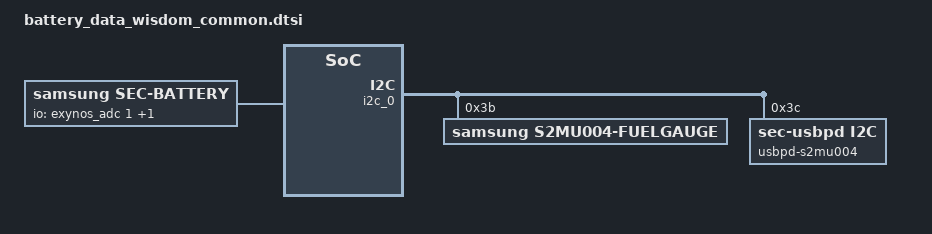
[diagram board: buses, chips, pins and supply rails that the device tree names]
/*
 * Tab WISDOM Battery parameters device tree file
 *
 * Copyright (C) 2018 Samsung Electronics, Inc.
 *
 * This program is free software; you can redistribute it and/or
 * modify it under the terms of the GNU General Public License
 * as published by the Free Software Foundation; either version 2
 * of the License, or (at your option) any later version.
 *
 * This program is distributed in the hope that it will be useful,
 * but WITHOUT ANY WARRANTY; without even the implied warranty of
 * MERCHANTABILITY or FITNESS FOR A PARTICULAR PURPOSE. See the
 * GNU General Public License for more details.
 *
 * You should have received a copy of the GNU General Public License
 * along with this program. If not, see <http://www.gnu.org/licenses/>.
 *
 */

/ {
	fragment@battery {
		target-path = "/";
		__overlay__ {
			battery_params {
					battery,battery_data =
						<
						/***** battery data for 4.30 *****/
						/* battery,battery_table3 */
						61 11 251 10 185 10 107 10 232 9
						106 9 246 8 149 8 20 8 190 7
						103 7 244 6 182 6 135 6 98 6
						68 6 41 6 6 6 204 5 146 5
						115 5 176 2 187 9 68 9 205 8
						85 8 222 7 103 7 240 6 121 6
						2 6 139 5 20 5 157 4 38 4
						175 3 56 3 193 2 74 2 211 1
						92 1 229 0 109 0 246 15

						/* battery,battery_table4 */
						10 10 10 10 36 36 35 34 35 35
						36 36 36 36 36 37 39 40 43 51
						75 96

						/* battery,batcap */
						0x80 0x3E 0xA0 0x0F /* [0x0E] [0x0F] [0x10] [0x11] */
						/* battery,accum */
						0x8 0x00 /* [0x45] [0x44] */

						/* battery,soc_arr_val */
						12161 11580 10999 10417 9836 9255 8673 8092 7511 6929
						6348 5766 5185 4604 4022 3441 2859 2278 1697 1116
						534 (-47)
						/* battery,ocv_arr_val */
						44048 43727 43404 43021 42381 41766 41201 40726 40096 39679
						39252 38692 38387 38160 37977 37831 37700 37531 37245 36963
						36811 33361

						/* battery,tunning */
						0x00

						/***** battery data for 4.28 *****/
						/* battery,battery_table3 */
						28 11 251 10 219 10 186 10 154 10
						84 10 193 9 58 9 189 8 76 8
						206 7 116 7 247 6 177 6 127 6
						87 6 56 6 25 6 227 5 158 5
						118 5 176 2 254 10 119 10 240 9
						105 9 226 8 92 8 213 7 78 7
						199 6 65 6 186 5 51 5 172 4
						37 4 159 3 24 3 145 2 10 2
						132 1 253 0 118 0 239 15

						/* battery,battery_table4 */
						40 35 36 36 36 36 35 34 35 35
						36 36 36 36 36 37 39 40 43 51
						75 66

						/* battery,batcap */
						0x28 0x3C 0x0A 0x0F /* [0x0E] [0x0F] [0x10] [0x11] */
						/* battery,accum */
						0x8 0x00 /* [0x45] [0x44] */

						/* battery,soc_arr_val */
						13738 13080 12422 11763 11106 10448 9790 9132 8474 7816
						7158 6500 5840 5183 4525 3867 3209 2551 1893 1235
						577 (-81)
						/* battery,ocv_arr_val */
						43886 43727 43568 43409 43250 42908 42194 41534 40925 40372
						39754 39315 38705 38366 38121 37927 37775 37621 37359 37023
						36826 33361

						/* battery,tunning */
						0x00
				
						/***** battery data for 4.26 *****/
						/* battery,battery_table3 */
						32 11 251 10 214 10 178 10 141 10
						24 10 139 9 13 9 158 8 24 8
						187 7 88 7 229 6 166 6 119 6
						82 6 53 6 20 6 221 5 155 5
						117 5 176 2 254 10 119 10 240 9
						105 9 226 8 92 8 213 7 78 7
						199 6 64 6 186 5 51 5 172 4
						37 4 158 3 24 3 145 2 10 2
						131 1 252 0 118 0 239 15

						/* battery,battery_table4 */
						40 35 36 36 36 36 35 34 35 35
						36 36 36 36 36 37 39 40 43 51
						75 66

						/* battery,batcap */
						0x08 0x39 0x42 0x0E /* [0x0E] [0x0F] [0x10] [0x11] */
						/* battery,accum */
						0x8 0x00 /* [0x45] [0x44] */

						/* battery,soc_arr_val */
						13738 13080 12422 11763 11106 10447 9789 9131 8473 7815
						7157 6499 5840 5182 4524 3866 3207 2550 1891 1233
						575 (-83)
						/* battery,ocv_arr_val */
						43907 43727 43547 43368 43188 42618 41929 41312 40773 40117
						39662 39180 38620 38313 38083 37901 37757 37598 37331 37008
						36822 33361

						/* battery,tunning */
						0x00

						/***** battery data for 4.24 *****/
						/* battery,battery_table3 */
						35 11 251 10 212 10 172 10 133 10
						250 9 114 9 246 8 143 8 254 7
						176 7 71 7 221 6 161 6 115 6
						79 6 51 6 18 6 218 5 154 5
						117 5 176 2 254 10 119 10 240 9
						105 9 226 8 92 8 213 7 78 7
						199 6 64 6 186 5 51 5 172 4
						37 4 158 3 24 3 145 2 10 2
						131 1 252 0 118 0 239 15

						/* battery,battery_table4 */
						40 35 36 36 36 36 35 34 35 35
						36 36 36 36 36 37 39 40 43 51
						75 66

						/* battery,batcap */
						0x98 0x3A 0xA6 0x0E /* [0x0E] [0x0F] [0x10] [0x11] */
						/* battery,accum */
						0x8 0x00 /* [0x45] [0x44] */

						/* battery,soc_arr_val */
						13738 13080 12422 11763 11105 10447 9789 9131 8473 7814
						7156 6498 5840 5182 4523 3865 3207 2549 1891 1232
						574 (-84)

						/* battery,ocv_arr_val */
						43920 43727 43534 43341 43148 42473 41807 41202 40697 39989
						39609 39099 38581 38286 38063 37888 37747 37587 37317 37001
						36821 33361

						/* battery,tunning */
						0x00

						/***** battery data for 4.19 *****/
						/* battery,battery_table3 */
						67 11 251 10 180 10 88 10 214 9
						91 9 233 8 140 8 4 8 184 7
						95 7 239 6 178 6 133 6 96 6
						67 6 40 6 5 6 202 5 145 5
						115 5 176 2 254 10 119 10 240 9
						105 9 226 8 91 8 212 7 78 7
						199 6 64 6 185 5 50 5 171 4
						36 4 157 3 22 3 144 2 9 2
						130 1 251 0 116 0 237 15

						/* battery,battery_table4 */
						40 35 36 36 36 36 35 34 35 35
						36 36 36 36 36 37 39 40 43 51
						75 66

						/* battery,batcap */
						0x90 0x33 0xE4 0x0C/* [0x0E] [0x0F] [0x10] [0x11] */
						/* batteryaccum */
						0x8 0x00 /* [0x45] [0x44] */

						/* batterysoc_arr_val */
						13738 13080 12421 11762 11104 10446 9787 9129 8470 7812
						7153 6494 5836 5177 4519 3860 3202 2543 1885 1226
						568 (-91)

						/* batteryocv_arr_val */
						44077 43727 43377 42932 42295 41694 41137 40682 40020 39651
						39212 38668 38370 38148 37968 37825 37694 37524 37237 36959
						36810 33361

						/* battery,tunning */
						0x00
 						>;

					battery,battery_table3 = <
								61 11 251 10 185 10 107 10 232 9
								106 9 246 8 149 8 20 8 190 7
								103 7 244 6 182 6 135 6 98 6
								68 6 41 6 6 6 204 5 146 5
								115 5 176 2 187 9 68 9 205 8
								85 8 222 7 103 7 240 6 121 6
								2 6 139 5 20 5 157 4 38 4
								175 3 56 3 193 2 74 2 211 1
								92 1 229 0 109 0 246 15
								>;

					battery,battery_table4 = <
								10 10 10 10 36 36 35 34 35 35
								36 36 36 36 36 37 39 40 43 51
								75 96
								>;

					battery,batcap = <0xD0 0x39 0x74 0x0E>; /* [0x0E] [0x0F] [0x10] [0x11] */
					battery,accum = <0x8 0x00>; /* [0x45] [0x44] */

					battery,soc_arr_val = <
								12161 11580 10999 10417 9836 9255 8673 8092 7511 6929
								6348 5766 5185 4604 4022 3441 2859 2278 1697 1116
								534 (-47)
								>;
					battery,ocv_arr_val = <
								44048 43727 43404 43021 42381 41766 41201 40726 40096 39679
								39252 38692 38387 38160 37977 37831 37700 37531 37245 36963
								36811 33361
								>;
					battery,data_ver = <0x04>;
			};

			pdic-manager {
				/* sink */
				pdic,max_power = <5000>;
				pdic,op_power = <2500>;
				pdic,max_voltage = <6000>;
				pdic,max_current = <2000>;
				pdic,min_current = <500>;

				pdic,giveback = <0>;
				pdic,usb_com_capable = <1>;
				pdic,no_usb_suspend = <1>;

				/* source */
				source,max_voltage = <5000>;
				source,min_voltage = <4000>;
				source,max_power = <2500>;

				/* sink cap */
				sink,capable_max_voltage = <9000>;
			};

			battery {
				status = "okay";
				compatible = "samsung,sec-battery";

				pinctrl-names = "default";

				battery,vendor = "Battery";
				battery,charger_name = "s2mu004-charger";
				battery,fuelgauge_name = "s2mu004-fuelgauge";
				battery,technology = <2>; /* POWER_SUPPLY_TECHNOLOGY_LION */
				battery,fgsrc_switch_name = "s2mu004-fuelgauge"; /* Fuelgauge voltage source */

				battery,batt_data_version = <2>;

				battery,chip_vendor = "LSI";
				battery,temp_adc_type = <1>; /* SEC_BATTERY_ADC_TYPE_AP */

				battery,temp_check_type = <2>; /* SEC_BATTERY_TEMP_CHECK_TEMP */

				battery,thermal_source = <2>; /* SEC_BATTERY_THERMAL_SOURCE_ADC */

				battery,polling_time = <10 30 30 30 3600>;

				battery,temp_table_adc = <
							467 525 590 665 750 846 952 1017 1200 1345
							1470 1615 1715 1990 2250 2405 2596 2782 2953 3127
							3270 3412 3543
							>;
				battery,temp_table_data = <
							900 850 800 750 700 650 600 550 500 450 
							400 350 300 250 200 150 100 50 0 (-50)
							(-100) (-150) (-200)
							>;

				battery,inbat_voltage = <1>;

				battery,inbat_voltage_table_adc = <2823 2803 2775 2748 2719 2695 2668 2638 2609 2582
								2551 2524 2496 2469 2442 2416 2390 2362 2333 2303 2275>;
				battery,inbat_voltage_table_data = <4385 4355 4305 4255 4205 4155 4105 4055 4005 3955
								3905 3855 3805 3755 3705 3655 3605 3555 3505 3455 3405>;

				battery,adc_check_count = <5>;

				battery,cable_check_type = <4>; /* SEC_BATTERY_CABLE_CHECK_PSY */
				battery,cable_source_type = <1>; /* SEC_BATTERY_CABLE_SOURCE_EXTERNAL */
				battery,polling_type = <1>; /* SEC_BATTERY_MONITOR_ALARM */
				battery,monitor_initial_count = <0>;

				battery,pre_afc_input_current = <500>;

				battery,battery_check_type = <0>; /* SEC_BATTERY_CHECK_NONE */
				battery,check_count = <0>;

				battery,ovp_uvlo_check_type = <3>; /* SEC_BATTERY_OVP_UVLO_CHGPOLLING */

				battery,temp_check_count = <1>;
				battery,temp_highlimit_threshold_event = <800>;
				battery,temp_highlimit_recovery_event = <750>;
				battery,temp_high_threshold_event = <500>;
				battery,temp_high_recovery_event = <450>;
				battery,temp_low_threshold_event = <0>;
				battery,temp_low_recovery_event = <50>;
				battery,temp_highlimit_threshold_normal = <800>;
				battery,temp_highlimit_recovery_normal = <750>;
				battery,temp_high_threshold_normal = <500>;
				battery,temp_high_recovery_normal = <480>;
				battery,temp_low_threshold_normal = <0>;
				battery,temp_low_recovery_normal = <20>;
				battery,temp_highlimit_threshold_lpm = <800>;
				battery,temp_highlimit_recovery_lpm = <750>;
				battery,temp_high_threshold_lpm = <500>;
				battery,temp_high_recovery_lpm = <480>;
				battery,temp_low_threshold_lpm = <0>;
				battery,temp_low_recovery_lpm = <20>;
				battery,wpc_high_threshold_normal = <480>;
				battery,wpc_high_recovery_normal = <400>;
				battery,wpc_low_threshold_normal = <0>;
				battery,wpc_low_recovery_normal = <20>;

				battery,full_check_type = <2>; /* SEC_BATTERY_FULLCHARGED_FG_CURRENT */
				battery,full_check_type_2nd = <2>; /* SEC_BATTERY_FULLCHARGED_FG_CURRENT */
				battery,full_check_count = <1>;
				battery,chg_gpio_full_check = <0>;
				battery,chg_polarity_full_check = <1>;

				/* SEC_BATTERY_FULL_CONDITION_SOC |
				 * SEC_BATTERY_FULL_CONDITION_NOTIMEFULL |
				 * SEC_BATTERY_FULL_CONDITION_VCELL
				 */
				battery,full_condition_type = <13>;
				battery,full_condition_soc = <93>;
				battery,full_condition_vcell = <4200>;

				battery,recharge_check_count = <1>;
				battery,recharge_condition_type = <4>; /* SEC_BATTERY_RECHARGE_CONDITION_VCELL */
				battery,recharge_condition_soc = <98>;
				battery,recharge_condition_vcell = <4230>;

				battery,charging_total_time = <14400>;
				battery,hv_charging_total_time = <10800>;
				battery,normal_charging_total_time = <18000>;
				battery,usb_charging_total_time = <36000>;
				battery,recharging_total_time = <5400>;
				battery,charging_reset_time = <0>;

				battery,chg_float_voltage = <4300>;

				battery,swelling_high_temp_block = <410>;
				battery,swelling_high_temp_recov = <390>;
				battery,swelling_wc_high_temp_recov = <390>;
				battery,swelling_low_temp_block_1st = <150>;
				battery,swelling_low_temp_recov_1st = <200>;
				battery,swelling_low_temp_block_2nd = <50>;
				battery,swelling_low_temp_recov_2nd = <100>;

				battery,swelling_low_temp_current = <750>;	/* 0.3C */
				battery,swelling_low_temp_topoff = <210>;	/* 0.05C */
				battery,swelling_high_temp_current = <1125>;	/* 0.45C */
				battery,swelling_high_temp_topoff = <210>;	/* 0.05C */
				battery,swelling_wc_high_temp_current = <750>;	/* 0.3C */
				battery,swelling_wc_low_temp_current = <750>;	/* 0.3C */

				battery,swelling_drop_float_voltage = <4100>;
				battery,swelling_high_rechg_voltage = <3950>;
				battery,swelling_low_rechg_voltage = <3950>;

				battery,siop_event_check_type = <1>;
				battery,siop_call_cv_current = <330>;
				battery,siop_call_cc_current = <330>;

				battery,siop_input_limit_current = <1200>;
				battery,siop_charging_limit_current = <1000>;

				battery,pd_charging_charge_power = <7750>;
				battery,max_charging_current = <1800>;
				battery,slow_charging_current = <500>;
				battery,battery_full_capacity = <4200>;

				/* cycle, chg_float_voltage, recharge_condition_vcell, full_condition_vcell, full_condition_soc */
				battery,age_data = <0 4300 4230 4200 93	/*4.30*/
						200 4280 4210 4180 92	/*4.28*/
						250 4260 4190 4160 91	/*4.26*/
						300 4240 4170 4140 90	/*4.24*/
						1000 4190 4120 4090 89	/*4.19*/
						>;
				battery,max_input_voltage = <5000>; /* mV */
				battery,max_input_current = <1500>;  /* mA */

				battery,standard_curr = <1569>;
				battery,expired_time = <16320>; /* 192 + 80 minutes */
				battery,recharging_expired_time = <5400>;

				battery,cisd_max_voltage_thr = <5000>; /* battery ovp detection voltage */

				battery,cisd_alg_index = <7>;
				battery,ignore_cisd_index = <0 960>;
				battery,ignore_cisd_index_d = <0 120>;

				battery,enable_water_resistance;

				battery,recovery_cable;

				io-channels = <&exynos_adc 1>, <&exynos_adc 2>;
				io-channel-names = "adc-temp", "adc-in-bat";
				#io-channel-cells = <5>;
				io-channel-ranges;
				battery,ttf_capacity = <4060>;
				battery,cv_data = <
							1608	929		600
							1597    933     570
							1554    941     510
							1462    956     390
							1452    960     360
							1358    978     210
							1342    981     180
							1272    991     90
							1205    1000    0
							>;
			};

/* sec_battery_cable
 *   0	UNKNOWN,
 *   1	NONE,
 *   2	PREPARE_TA,
 *   3	TA,
 *   4	USB,
 *   5	USB_CDP,
 *   6	9V_TA,
 *   7	9V_ERR,
 *   8	9V_UNKNOWN,
 *   9	12V_TA,
 *  10	WIRELESS,
 *  11	HV_WIRELESS,
 *  12	PMA_WIRELESS,
 *  13	WIRELESS_PACK,
 *  14	WIRELESS_PACK_TA,
 *  15	WIRELESS_STAND,
 *  16	WIRELESS_HV_STAND,
 *  17	QC20,
 *  18	QC30,
 *  19	PDIC,
 *  20	UARTOFF,
 *  21	OTG,
 *  22	LAN_HUB,
 *  23	POWER_SHARING,
 *  24	HMT_CONNECTED,
 *  25	HMT_CHARGE,
 *  26	HV_TA_CHG_LIMIT,
 *  27	WIRELESS_VEHICLE,
 *  28	WIRELESS_HV_VEHICLE,
 *  29	PREPARE_WIRELESS_HV,
 *  30	TIMEOUT,
 *  31	SMART_OTG,
 *  32	SMART_NOTG,
 *  33	FACTORY_UART,
 *  34	CABLE_MAX,
 */
			cable-info {
				default_input_current = <1500>;
				default_charging_current = <1800>;
				full_check_current_1st = <420>;
				full_check_current_2nd = <210>;

				current_group_1 {
					cable_number = <1 4 19 21 22 23 30>;
					input_current = <500>;
					charging_current = <500>;
				};

				current_group_2 {
					cable_number = <2 25 31>;
					input_current = <1000>;
					charging_current = <1000>;
				};

				current_group_3 {
					cable_number = <5 32>;
					input_current = <1500>;
					charging_current = <1500>;
				};

				current_group_4 {
					cable_number = <6 7 8>;
					input_current = <1650>;
					charging_current = <2150>;
				};

				current_group_5 {
					cable_number = <9>;
					input_current = <1650>;
					charging_current = <2150>;
				};

				current_group_6 {
					cable_number = <10 12 14 15 27>;
					input_current = <900>;
					charging_current = <1200>;
				};

				current_group_7 {
					cable_number = <13>;
					input_current = <700>;
					charging_current = <1200>;
				};

				current_group_8 {
					cable_number = <24>;
					input_current = <1000>;
					charging_current = <450>;
				};

				current_group_9 {
					cable_number = <26>;
					input_current = <2000>;
					charging_current = <1800>;
				};

				current_group_10 {
					cable_number = <11 16 28>;
					input_current = <650>;
					charging_current = <1200>;
				};

				current_group_11 {
					cable_number = <29>;
					input_current = <500>;
					charging_current = <1200>;
				};
			};

			s2mu004-charger {
				status = "disable";
				compatible = "samsung,s2mu004-charger";
			};
		};
	};
};

&pinctrl_0 {
	fuel_irq: fuel-irq {
		samsung,pins = "gpa2-4";
		samsung,pin-function = <0>;
		samsung,pin-pud = <2>;
		samsung,pin-drv = <0>;
	};

	if_pmic_irq: if-pmic-irq {
		samsung,pins = "gpa2-2";
		samsung,pin-function = <0>;
		samsung,pin-pud = <0>;
		samsung,pin-drv = <0>;
	};

	usbpd_irq: usbpd-irq {
		samsung,pins = "gpa2-3";
		samsung,pin-function = <0x0f>;
		samsung,pin-pud = <0>;
		samsung,pin-drv = <0>;
	};
};

&i2c_0 {
	i2c-gpio,delay-us = <5>;
	status = "okay";
	s2mu004-fuelgauge@3B {
		compatible = "samsung,s2mu004-fuelgauge";
		reg = <0x3B>;
		pinctrl-names = "default";
		pinctrl-0 = <&fuel_irq>;
		fuelgauge,fuel_int = <&gpa2 4 0>;
		fuelgauge,fuel_alert_soc = <1>;
		fuelgauge,fuel_alert_vol = <3300>;
		fuelgauge,low_temp_limit = <100>;
		fuelgauge,sw_vbat_l_recovery_vol = <3465>;
		fuelgauge,capacity_max = <970>;
		fuelgauge,capacity_max_margin = <200>;
		fuelgauge,capacity_min = <0>;
		fuelgauge,capacity_calculation_type = <28>;
		fuelgauge,capacity_full = <4200>;
		fuelgauge,type_str = "SDI";
		fuelgauge,model_type = <1>;
		fuelgauge,fg_log_enable = <1>;
	};

	usbpd-s2mu004@3C {
		compatible = "sec-usbpd,i2c";
		reg = <0x3C>;
		pinctrl-names = "default";
		pinctrl-0     = <&usbpd_irq>;
		usbpd,usbpd_int = <&gpa2 3 0>;
	};
};
